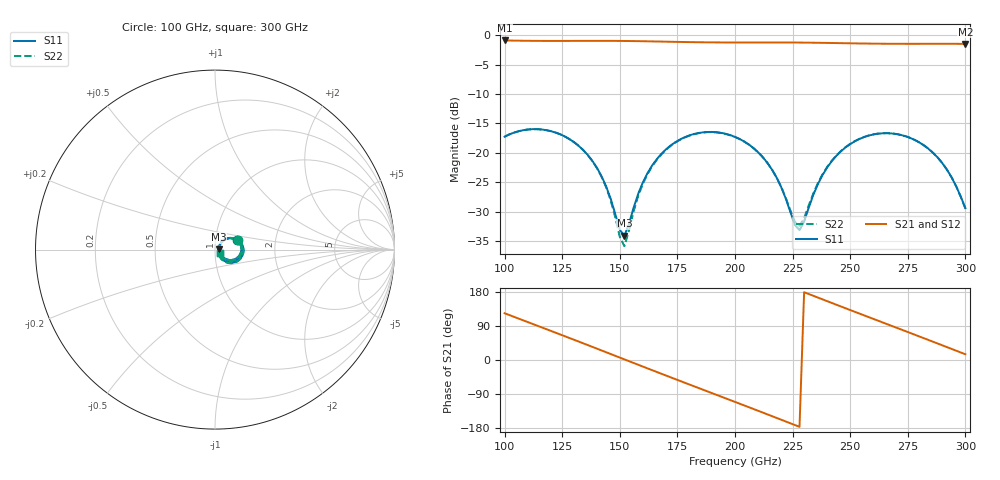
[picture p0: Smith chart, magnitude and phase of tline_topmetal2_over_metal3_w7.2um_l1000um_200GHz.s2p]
#  GHZ S DB R 50
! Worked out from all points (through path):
!   101 points, 100 GHz to 300 GHz, reference 50 ohm
!   highest |S21| = -0.87 dB at 100 GHz (marker M1); lowest = -1.5 dB at 300 GHz (marker M2)
!   group delay of S21, straight-line fit = 6.51 ps
!   lowest |S11| = -34.1 dB at 152 GHz (marker M3), VSWR 1.04, Z = 52 + j0.133 ohm
!   |S11| at or under -10 dB: start of sweep to end of sweep
!   |S22| runs from -35.9 to -16.0 dB; largest |S21 - S12| = 1e-13
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100  -17.25 24.1  -0.87 123.4  -0.87 123.4  -17.24 23.6
116  -16.02 -8.3  -0.95 86.3  -0.95 86.3  -16.02 -9.1
124  -16.82 -24.4  -0.95 67.7  -0.95 67.7  -16.82 -25.4
134  -19.47 -43.2  -0.94 44.3  -0.94 44.3  -19.48 -44.9
144  -25.64 -53.9  -0.94 20.6  -0.94 20.6  -25.77 -57.6
150  -33.09 -27.1  -0.95 6.4  -0.95 6.4  -34.30 -33.2
152  -34.09 3.7  -0.96 1.6  -0.96 1.6  -35.87 3.9
160  -25.02 48.2  -1.01 -17.3  -1.01 -17.3  -25.27 51.7
168  -20.18 39.6  -1.06 -36.2  -1.06 -36.2  -20.28 41.7
184  -16.63 9.8  -1.18 -73.5  -1.18 -73.5  -16.67 11.1
200  -17.27 -21.5  -1.22 -110.6  -1.22 -110.6  -17.30 -20.3
214  -21.67 -44.8  -1.22 -143.3  -1.22 -143.3  -21.67 -43.1
228  -33.13 4.1  -1.23 -176.4  -1.23 -176.4  -32.41 5.1
234  -27.14 46.3  -1.26 169.4  -1.26 169.4  -26.88 44.8
240  -22.49 46.3  -1.29 155.3  -1.29 155.3  -22.39 45.3
248  -19.06 34.8  -1.35 136.5  -1.35 136.5  -19.01 34.2
258  -17.06 16.4  -1.40 113.2  -1.40 113.2  -17.04 16.0
268  -16.70 -3.0  -1.44 90.0  -1.44 90.0  -16.68 -3.3
276  -17.45 -18.2  -1.45 71.5  -1.45 71.5  -17.44 -18.5
286  -20.01 -35.3  -1.44 48.1  -1.44 48.1  -20.00 -35.5
294  -24.15 -42.8  -1.44 29.3  -1.44 29.3  -24.16 -43.1
300  -29.42 -30.9  -1.45 15.1  -1.45 15.1  -29.48 -31.3
